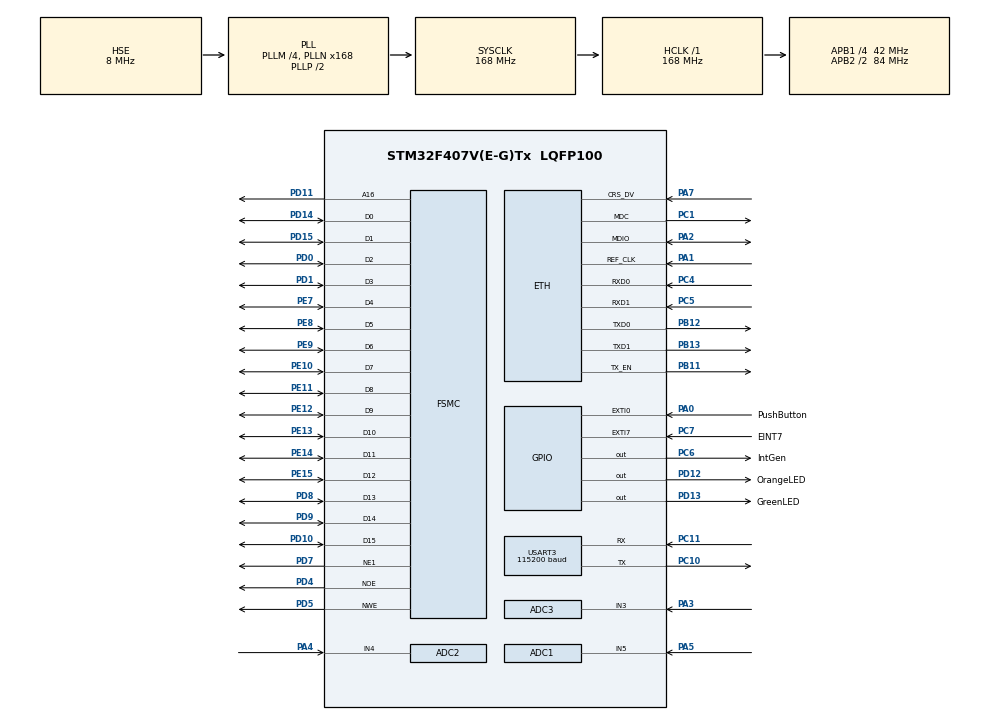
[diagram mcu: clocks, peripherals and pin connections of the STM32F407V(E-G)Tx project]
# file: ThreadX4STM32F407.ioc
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ADC1.Channel-4\#ChannelRegularConversion=ADC_CHANNEL_5
ADC1.NbrOfConversionFlag=1
ADC1.Rank-4\#ChannelRegularConversion=1
ADC1.SamplingTime-4\#ChannelRegularConversion=ADC_SAMPLETIME_3CYCLES
ADC1.master=1
ADC2.Channel-0\#ChannelRegularConversion=ADC_CHANNEL_4
ADC2.NbrOfConversionFlag=1
ADC2.Rank-0\#ChannelRegularConversion=1
ADC2.SamplingTime-0\#ChannelRegularConversion=ADC_SAMPLETIME_3CYCLES
ADC3.Channel-0\#ChannelRegularConversion=ADC_CHANNEL_3
ADC3.NbrOfConversionFlag=1
ADC3.Rank-0\#ChannelRegularConversion=1
ADC3.SamplingTime-0\#ChannelRegularConversion=ADC_SAMPLETIME_3CYCLES
ETH.ChecksumMode=ETH_CHECKSUM_BY_HARDWARE
ETH.MACAddr=00\:17\:A1\:00\:00\:01
ETH.MediaInterface=ETH_MEDIA_INTERFACE_RMII
ETH.PHY_Name_RMII=DP83848_PHY_ADDRESS
ETH.PhyAddress=0
ETH.RxMode=ETH_RXINTERRUPT_MODE
Mcu.Family=STM32F4
Mcu.Name=STM32F407V(E-G)Tx
Mcu.Package=LQFP100
NVIC.ADC_IRQn=true\:0\:0\:false\:false\:true\:true\:true
NVIC.ETH_IRQn=true\:0\:0\:false\:false\:true\:false\:true
NVIC.EXTI0_IRQn=true\:0\:0\:false\:false\:true\:true\:true
NVIC.EXTI9_5_IRQn=true\:0\:0\:false\:false\:true\:true\:true
NVIC.PriorityGroup=NVIC_PRIORITYGROUP_4
NVIC.USART3_IRQn=true\:0\:0\:false\:false\:true\:true\:true
PA0-WKUP.GPIO_Label=PushButton
PA0-WKUP.GPIO_ModeDefaultEXTI=GPIO_MODE_IT_RISING_FALLING
PA0-WKUP.GPIO_PuPd=GPIO_NOPULL
PA0-WKUP.Signal=GPXTI0
PA1.Mode=RMII
PA1.Signal=ETH_REF_CLK
PA13.Mode=Serial_Wire
PA13.Signal=SYS_JTMS-SWDIO
PA14.Mode=Serial_Wire
PA14.Signal=SYS_JTCK-SWCLK
PA2.Mode=RMII
PA2.Signal=ETH_MDIO
PA3.Signal=ADCx_IN3
PA4.Signal=ADCx_IN4
PA5.Signal=ADCx_IN5
PA7.Mode=RMII
PA7.Signal=ETH_CRS_DV
PB0.GPIO_Label=BL_PWM
PB0.Signal=S_TIM3_CH3
PB11.Mode=RMII
PB11.Signal=ETH_TX_EN
PB12.Mode=RMII
PB12.Signal=ETH_TXD0
PB13.Mode=RMII
PB13.Signal=ETH_TXD1
PC1.Mode=RMII
PC1.Signal=ETH_MDC
PC10.Mode=Asynchronous
PC10.Signal=USART3_TX
PC11.Mode=Asynchronous
PC11.Signal=USART3_RX
PC14-OSC32_IN.Mode=LSE-External-Oscillator
PC14-OSC32_IN.Signal=RCC_OSC32_IN
PC15-OSC32_OUT.Mode=LSE-External-Oscillator
PC15-OSC32_OUT.Signal=RCC_OSC32_OUT
PC4.Mode=RMII
PC4.Signal=ETH_RXD0
PC5.Mode=RMII
PC5.Signal=ETH_RXD1
PC6.GPIO_Label=IntGen
PC6.GPIO_PuPd=GPIO_PULLDOWN
PC6.GPIO_Speed=GPIO_SPEED_FREQ_VERY_HIGH
PC6.PinState=GPIO_PIN_SET
PC6.Signal=GPIO_Output
PC7.GPIO_Label=EINT7
PC7.GPIO_ModeDefaultEXTI=GPIO_MODE_IT_FALLING
PC7.Signal=GPXTI7
PD0.Mode=16b-d1
PD0.Signal=FSMC_D2
PD1.Mode=16b-d1
PD1.Signal=FSMC_D3
PD10.Mode=16b-d1
PD10.Signal=FSMC_D15
PD11.Mode=A16_1
PD11.Signal=FSMC_A16
PD12.GPIO_Label=OrangeLED
PD12.GPIO_ModeDefaultOutputPP=GPIO_MODE_OUTPUT_PP
PD12.GPIO_PuPd=GPIO_PULLDOWN
PD12.GPIO_Speed=GPIO_SPEED_FREQ_VERY_HIGH
PD12.PinState=GPIO_PIN_SET
PD12.Signal=GPIO_Output
PD13.GPIO_Label=GreenLED
PD13.GPIO_PuPd=GPIO_PULLDOWN
PD13.GPIO_Speed=GPIO_SPEED_FREQ_VERY_HIGH
PD13.PinState=GPIO_PIN_SET
PD13.Signal=GPIO_Output
PD14.Mode=16b-d1
PD14.Signal=FSMC_D0
PD15.Mode=16b-d1
PD15.Signal=FSMC_D1
PD4.Mode=Lcd1
PD4.Signal=FSMC_NOE
PD5.Mode=Lcd1
PD5.Signal=FSMC_NWE
PD7.Mode=NorPsramChipSelect1_1
PD7.Signal=FSMC_NE1
PD8.Mode=16b-d1
PD8.Signal=FSMC_D13
PD9.Mode=16b-d1
PD9.Signal=FSMC_D14
PE10.Mode=16b-d1
PE10.Signal=FSMC_D7
PE11.Mode=16b-d1
PE11.Signal=FSMC_D8
PE12.Mode=16b-d1
PE12.Signal=FSMC_D9
PE13.Mode=16b-d1
PE13.Signal=FSMC_D10
PE14.Mode=16b-d1
PE14.Signal=FSMC_D11
PE15.Mode=16b-d1
PE15.Signal=FSMC_D12
PE7.Mode=16b-d1
PE7.Signal=FSMC_D4
PE8.Mode=16b-d1
PE8.Signal=FSMC_D5
PE9.Mode=16b-d1
PE9.Signal=FSMC_D6
PH0-OSC_IN.Mode=HSE-External-Oscillator
PH0-OSC_IN.Signal=RCC_OSC_IN
PH1-OSC_OUT.Mode=HSE-External-Oscillator
PH1-OSC_OUT.Signal=RCC_OSC_OUT
ProjectManager.HeapSize=0x200
ProjectManager.StackSize=0x400
ProjectManager.TargetToolchain=STM32CubeIDE
RCC.48MHZClocksFreq_Value=84000000
RCC.AHBFreq_Value=168000000
RCC.APB1CLKDivider=RCC_HCLK_DIV4
RCC.APB1Freq_Value=42000000
RCC.APB1TimFreq_Value=84000000
RCC.APB2CLKDivider=RCC_HCLK_DIV2
RCC.APB2Freq_Value=84000000
RCC.APB2TimFreq_Value=168000000
RCC.CortexFreq_Value=168000000
RCC.HCLKFreq_Value=168000000
RCC.HSE_VALUE=8000000
RCC.HSI_VALUE=16000000
RCC.PLLM=4
RCC.PLLN=168
RCC.PLLSourceVirtual=RCC_PLLSOURCE_HSE
RCC.SYSCLKFreq_VALUE=168000000
RCC.SYSCLKSource=RCC_SYSCLKSOURCE_PLLCLK
RCC.VCOOutputFreq_Value=336000000
SH.ADCx_IN3.0=ADC3_IN3,IN3
SH.ADCx_IN4.0=ADC2_IN4,IN4
SH.ADCx_IN5.0=ADC1_IN5,IN5
SH.S_TIM3_CH3.0=TIM3_CH3
USART3.BaudRate=115200
USART3.VirtualMode=VM_ASYNC
board=custom

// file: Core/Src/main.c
/* USER CODE BEGIN Header */

/**
 ******************************************************************************
 *	File		:	main.c
 *	Brief		:	C source file of ThreadX demo application.
 *	Created on	:	Sep 17, 2021
 *	Author		:	William, An.
 *	Email		:	ponytail2k@gmail.com
 ******************************************************************************
 *
 * Copyright (c) 2021 Lee & An Partners Co., Ltd. All rights reserved.
 *
 * This software component is licensed by Lee & An Partners under BSD 3-Clause license,
 * the "License"; You may not use this file except in compliance with the
 * License. You may obtain a copy of the License at:
 *
 *                        opensource.org/licenses/BSD-3-Clause
 *
 ******************************************************************************
 */

/**
  ******************************************************************************
  * @file           : main.c
  * @brief          : Main program body
  ******************************************************************************
  * @attention
  *
  * <h2><center>&copy; Copyright (c) 2021 STMicroelectronics.
  * All rights reserved.</center></h2>
  *
  * This software component is licensed by ST under BSD 3-Clause license,
  * the "License"; You may not use this file except in compliance with the
  * License. You may obtain a copy of the License at:
  *                        opensource.org/licenses/BSD-3-Clause
  *
  ******************************************************************************
  */
/* USER CODE END Header */
#include "main.h"

/* USER CODE BEGIN PTD */
typedef struct {                              // Message object structure
	int	Voltage;                              // AD result of measured voltage
	int	Current;                              // AD result of measured current
	int	Counter;                              // A counter value
} sMeasure;
/* USER CODE END PTD */

/* USER CODE BEGIN PD */
#define	SIGNAL_BIT		0x00000001
/* USER CODE END PD */

ADC_HandleTypeDef hadc1;
ADC_HandleTypeDef hadc2;
ADC_HandleTypeDef hadc3;

ETH_HandleTypeDef heth;

UART_HandleTypeDef huart3;

SRAM_HandleTypeDef hsram1;

/* USER CODE BEGIN PV */
UART_HandleTypeDef *console = &huart3;

// Define the ThreadX object control blocks...
uint32_t  OneShotTimerArg;									// argument for the timer call back function
uint32_t  PeriodicTimerArg;									// argument for the timer call back function

osTimerId		OneShotTmrId;								// OneShotTimer id
osTimerId		PeriodicTmrId;								// PeriodicTimer id

osMutexId		MutexId;
osSemaphoreId	SemaphoreId;								// Semaphore ID
osPoolId  		MemPoolId;
osMessageQId	MsgQId;
osMessageQId	PushButtonMsgQID;
osMailQId		MailQId;

osThreadId txMainId;
osThreadId Thread0Id;
osThreadId Thread1Id;
osThreadId Thread2Id;
osThreadId Thread3Id;
osThreadId Thread4Id;
osThreadId Thread5Id;
osThreadId Thread6Id;
osThreadId Thread7Id;
osThreadId Thread8Id;
osThreadId Thread9Id;

// Define the counters used in the demo application...
ULONG thread_0_counter;
ULONG thread_1_counter;
ULONG thread_1_messages_sent;
ULONG thread_2_counter;
ULONG thread_2_messages_received;
ULONG thread_3_counter;
ULONG thread_4_counter;
ULONG thread_5_counter;
ULONG thread_6_counter;
ULONG thread_7_counter;
ULONG thread_8_counter;
ULONG thread_8_mail_sent;
ULONG thread_9_counter;
ULONG thread_9_mail_received;

// prototypes for timer callback function
void OneShotTimerCallback(ULONG timer_input);
void PeriodicTimerCallback(ULONG timer_input);

// Define thread prototypes.
void txMainThread(ULONG thread_input);
void AdcThread(ULONG thread_input);
void KeyThread(ULONG thread_input);
void LedThread(ULONG thread_input);
void Thread0(ULONG thread_input);
void Thread1(ULONG thread_input);
void Thread2(ULONG thread_input);
void Thread34(ULONG thread_input);
void Thread5(ULONG thread_input);
void Thread67(ULONG thread_input);
void Thread8(ULONG thread_input);
void Thread9(ULONG thread_input);
/* USER CODE END PV */

void SystemClock_Config(void);
static void MX_GPIO_Init(void);
static void MX_USART3_UART_Init(void);
static void MX_ETH_Init(void);
static void MX_FSMC_Init(void);
static void MX_ADC1_Init(void);
static void MX_ADC2_Init(void);
static void MX_ADC3_Init(void);

/* USER CODE BEGIN 0 */
void EnterInterrupt(void)
{
	HAL_GPIO_WritePin(IntGen_GPIO_Port, IntGen_Pin, GPIO_PIN_RESET);
}

void ExitInterrupt(void)
{
	HAL_GPIO_WritePin(IntGen_GPIO_Port, IntGen_Pin, GPIO_PIN_SET);
}
void PushButtonRelease(void)
{
	HAL_GPIO_WritePin(IntGen_GPIO_Port, IntGen_Pin, GPIO_PIN_RESET);
}

void PushButtonPress(void)
{
	HAL_GPIO_WritePin(IntGen_GPIO_Port, IntGen_Pin, GPIO_PIN_SET);
}

// Declare the tx_application_define function as having C linkage.
VOID tx_application_define(VOID *first_unused_memory)
{
    // Related to ThreadX RTOS layer.
    {
    	// Create a byte memory pool from which to allocate the thread stacks.
    	//UINT  _tx_byte_pool_create(TX_BYTE_POOL *pool_ptr, CHAR *name_ptr, VOID *pool_start, ULONG pool_size)
    	if (tx_byte_pool_create(&sTxBytePool, "BytePool", first_unused_memory, TX_SYSTEM_BYTE_POOL_SIZE) == TX_SUCCESS) {
    		ULONG	avail = 0;

    		//UINT  _tx_byte_pool_info_get(TX_BYTE_POOL *pool_ptr, CHAR **name, ULONG *available_bytes,
            //								ULONG *fragments, TX_THREAD **first_suspended,
            //								ULONG *suspended_count, TX_BYTE_POOL **next_pool)
    		tx_byte_pool_info_get(&sTxBytePool, TX_NULL, &avail, TX_NULL, TX_NULL, TX_NULL, TX_NULL);
    		kprintf("Thread X BytePool initialization success! (%d)\r\n", avail);
    	} else {
    		kprintf("Thread X BytePool initialization failed!\r\n");
    		while (1) {
    			;
    		}
    	}
    }

	// Put system definition stuff in here, e.g. thread creates and other assorted create information.
    // Related to CMSIS-RTOS layer.
    {
    	//  Create software timer
    	osTimerDef(OneShotTimer, OneShotTimerCallback, 1000);                      // define timers
    	OneShotTimerArg = 1;
    	OneShotTmrId = osTimerCreate (osTimer(OneShotTimer), osTimerOnce, (void *)OneShotTimerArg);

    	osTimerDef(PeriodicTimer, PeriodicTimerCallback, 10000);
    	PeriodicTimerArg = 2;
    	PeriodicTmrId = osTimerCreate (osTimer(PeriodicTimer), osTimerPeriodic, (void *)PeriodicTimerArg);

    	//	Create memory pool
    	osPoolDef(MemPool, 16, sMeasure);                    // Define memory pool
    	MemPoolId = osPoolCreate(osPool(MemPool));

    	//	Create msg queue
    	osMessageQDef(MsgQ, 16, sMeasure*);              // Define message queue
    	MsgQId = osMessageCreate(osMessageQ(MsgQ), NULL);

    	//  Create Push Button Message Key
    	osMessageQDef(PushButtonMsgQ, NUM_OF_KEY_MSGQ, uint32_t);              // Define message queue
    	PushButtonMsgQID = osMessageCreate(osMessageQ(PushButtonMsgQ), NULL);

    	//  Create semaphore
    	osSemaphoreDef(Semaphore);                       // Semaphore definition
    	SemaphoreId = osSemaphoreCreate(osSemaphore(Semaphore), 1);

    	//  Create mutex
    	osMutexDef(Mutex);
    	MutexId = osMutexCreate(osMutex(Mutex));

    	osMailQDef(MailQ, 16, sMeasure);                    // Define mail queue
    	MailQId = osMailCreate(osMailQ(MailQ), NULL);      // create mail queue

    	//	Create Main thread
    	osThreadDef(txMain, txMainThread, TX_THREAD_STACK_SIZE, osPriorityNormal);
    	txMainId = osThreadCreate(osThread(txMain), (void *)0);

    	//	Create PushButton thread
    	osThreadDef(txPushButton, KeyThread, TX_THREAD_STACK_SIZE, osPriorityNormal);
    	txMainId = osThreadCreate(osThread(txPushButton), (void *)0);

    	//	Create Thread 0
    	osThreadDef(Thread0, Thread0, TX_THREAD_STACK_SIZE, osPriorityNormal);
    	Thread0Id = osThreadCreate(osThread(Thread0), (void *)0);

    	// Create Thread 1
    	osThreadDef(Thread1, Thread1, TX_THREAD_STACK_SIZE, osPriorityNormal);
    	Thread1Id = osThreadCreate(osThread(Thread1), (void *)1);

    	// Create Thread 2
    	osThreadDef(Thread2, Thread2, TX_THREAD_STACK_SIZE, osPriorityNormal);
    	Thread2Id = osThreadCreate(osThread(Thread2), (void *)2);

    	// Create Thread 3
    	osThreadDef(Thread3, Thread34, TX_THREAD_STACK_SIZE, osPriorityNormal);
    	Thread3Id = osThreadCreate(osThread(Thread3), (void *)3);

    	// Create Thread 4
    	osThreadDef(Thread4, Thread34, TX_THREAD_STACK_SIZE, osPriorityNormal);
    	Thread4Id = osThreadCreate(osThread(Thread4), (void *)4);

    	// Create Thread 5
    	osThreadDef(Thread5, Thread5, TX_THREAD_STACK_SIZE, osPriorityNormal);
    	Thread5Id = osThreadCreate(osThread(Thread5), (void *)5);

    	// Create Thread 6
    	osThreadDef(Thread6, Thread67, TX_THREAD_STACK_SIZE, osPriorityNormal);
    	Thread6Id = osThreadCreate(osThread(Thread6), (void *)6);

    	// Create Thread 7
    	osThreadDef(Thread7, Thread67, TX_THREAD_STACK_SIZE, osPriorityNormal);
    	Thread7Id = osThreadCreate(osThread(Thread7), (void *)7);

    	// Create Thread 8
    	osThreadDef(Thread8, Thread8, TX_THREAD_STACK_SIZE, osPriorityNormal);
    	Thread8Id = osThreadCreate(osThread(Thread8), (void *)8);

    	// Create Thread 9
    	osThreadDef(Thread9, Thread9, TX_THREAD_STACK_SIZE, osPriorityNormal);
    	Thread9Id = osThreadCreate(osThread(Thread9), (void *)9);
    }
}

/* Define the txMainThread threads.  */
void txMainThread(ULONG thread_input)
{
	osTimerStart(OneShotTmrId, TX_ZERO);                // start timer
	osTimerStart(PeriodicTmrId, TX_ZERO);                // start timer

	/* This thread simply sits in while-forever-sleep loop.  */
	while (1) {
		kprintf("Hello, ThreadX!\r\n");
		osDelay(1000);
		PushButtonPress();	// Single Short Key
		osDelay(90);
		PushButtonRelease();
		osDelay(110);
		PushButtonPress();
		osDelay(90);
		PushButtonRelease();
		osDelay(110);
		PushButtonPress();
		osDelay(90);
		PushButtonRelease();
		osDelay(110);
		PushButtonPress();
		osDelay(90);
		PushButtonRelease();
		osDelay(110);
		PushButtonPress();		// Multi Short Key 1
		osDelay(90);
		PushButtonRelease();
		osDelay(110);

		PushButtonPress();
		osDelay(90);
		PushButtonRelease();
		osDelay(110);
		PushButtonPress();		// Multi Short Key 2
		osDelay(90);
		PushButtonRelease();
		osDelay(110);

		osDelay(1000);

		PushButtonPress();		// Single Long Key
		osDelay(2200);
		PushButtonRelease();
		osDelay(300);
	}
}

void OneShotTimerCallback(ULONG timer_input)
{                   										// timer callback function
	kprintf("OST(%d)\r\n", timer_input);							// arg contains &exec
}

void PeriodicTimerCallback(ULONG timer_input)
{
	kprintf("PT(%d)\r\n", timer_input);							// arg contains &exec
    // called every 10 seconds after osTimerStart
}

///////////////////////////////////////////////////////////////////////////////////////////////
// Key Thread
///////////////////////////////////////////////////////////////////////////////////////////////
uint8_t KeyPressed = GPIO_PIN_RESET;
uint8_t ucKeyIndex = (uint8_t)TX_ZERO;
uint32_t FirstKeyTick = (uint32_t)TX_ZERO;
uint32_t curKeyTick = (uint32_t)TX_ZERO;
uint32_t KeyPressTick[NUM_OF_KEY_BUFFERS];

void PushButtonInterrupt(uint16_t GPIO_Pin)
{
	/**
	 ******************************************************************************
	 *	Function	:	PushButtonInterrupt
	 *	Brief		:	Push Button Interrupt Handler.
	 *	Created on	:	Oct 12, 2021
	 *	Author		:	William, An.
	 *	Email		:	ponytail2k@gmail.com
	 ******************************************************************************
	 *
	 * Copyright (c) 2021 Lee & An Partners Co., Ltd. All rights reserved.
	 *
	 * This software component is licensed by Lee & An Partners under BSD 3-Clause license,
	 * the "License"; You may not use this function except in compliance with the
	 * License. You may obtain a copy of the License at:
	 *
	 *                        opensource.org/licenses/BSD-3-Clause
	 *
	 ******************************************************************************
	 *
	 * You SHOULD NOT MOVE OR REMOVE this comment.
	 *
	 * Visit YouTube Digital Museum!
	 *
	 *	https://www.youtube.com/channel/UCRpYzfU_JGjlWTY0si9HEMA
	 *
	 * Video for handling switch
	 *
	 *	https://www.youtube.com/watch?v=w_i-Z6Eq_Y0
	 *
	 ******************************************************************************
	 */
	curKeyTick = osKernelSysTick();

	if (HAL_GPIO_ReadPin(PushButton_GPIO_Port, GPIO_Pin) & GPIO_PIN_SET) {
		KeyPressed = GPIO_PIN_SET;
		KeyPressTick[ucKeyIndex] = curKeyTick;
		osMessagePut(PushButtonMsgQID, (uint32_t)SingleShortKey, 0);
	} else {
		KeyPressed = GPIO_PIN_RESET;
	}
}

void KeyThread(ULONG argument)
{
	/**
	 ******************************************************************************
	 *	Function	:	Push Button Key Thread
	 *	Brief		:	Inform the Key event to other thread.
	 *	Created on	:	Oct 12, 2021
	 *	Author		:	William, An.
	 *	Email		:	ponytail2k@gmail.com
	 ******************************************************************************
	 *
	 * Copyright (c) 2021 Lee & An Partners Co., Ltd. All rights reserved.
	 *
	 * This software component is licensed by Lee & An Partners under BSD 3-Clause license,
	 * the "License"; You may not use this function except in compliance with the
	 * License. You may obtain a copy of the License at:
	 *
	 *                        opensource.org/licenses/BSD-3-Clause
	 *
	 ******************************************************************************
	 *
	 * You SHOULD NOT MOVE OR REMOVE this comment.
	 *
	 * Visit YouTube Digital Museum!
	 *
	 *	https://www.youtube.com/channel/UCRpYzfU_JGjlWTY0si9HEMA
	 *
	 * Video for handling switch
	 *
	 *	https://www.youtube.com/watch?v=w_i-Z6Eq_Y0
	 *
	 ******************************************************************************
	 */
	uint32_t KeyEvtInfo;
	uint32_t curKeyTick;
	osEvent KeyEvent;

	memset(&KeyPressTick[0], 0, sizeof(uint32_t)*NUM_OF_KEY_BUFFERS);

	for ( ; ; ) {
		KeyEvent = osMessageGet(PushButtonMsgQID, 100);

		curKeyTick = osKernelSysTick();

        if (KeyEvent.status == osEventMessage) {
        	// Receive Key
        	KeyEvtInfo = KeyEvent.value.v;

        	// Key handle
        	if (KeyEvtInfo == SingleShortKey) {
            	if (ucKeyIndex == 0) {			        						// Check First Single Short Key
            		kprintf("SSK\r\n");
            		FirstKeyTick = KeyPressTick[0];
            	} else if (ucKeyIndex == MULTI_SHORT_KEY1_COUNT) {				// Check Multi Short Key
            		if ((KeyPressTick[MULTI_SHORT_KEY1_COUNT] - FirstKeyTick) < KEY_PROCESSING_TIMEOUT) {
            			kprintf("MSK1\r\n");
            			KeyEvtInfo = (uint32_t)MultiShortKey1;
            		}
            	} else if (ucKeyIndex == MULTI_SHORT_KEY2_COUNT) {
            		if ((KeyPressTick[MULTI_SHORT_KEY2_COUNT] - FirstKeyTick) < KEY_PROCESSING_TIMEOUT) {
            			kprintf("MSK2\r\n");
            			KeyEvtInfo = (uint32_t)MultiShortKey2;
            			ucKeyIndex = 0;
            			FirstKeyTick = 0;
            		}
            	}
            	ucKeyIndex++;
        	}
        } else if (KeyEvent.status == osEventTimeout) {							// Check Single Long Key - Timeout
    		// Handle Single Long Key Timeout
        	if (ucKeyIndex != 0) {	// Key handling state
        		// over 2000ms... : Key input timeout occur!!!
        		if ((curKeyTick - FirstKeyTick) > KEY_PROCESSING_TIMEOUT) {
            		// Still key is pressed,
                	if (((curKeyTick - KeyPressTick[ucKeyIndex-1]) > KEY_PROCESSING_TIMEOUT) && (KeyPressed == 1)) {
                		kprintf("SLK\r\n");
                		KeyEvtInfo = (uint32_t)SingleLongKey;
            			ucKeyIndex = 0;							// Timeout : previous key clear
            			FirstKeyTick = 0;
                	}

                	if (KeyPressed == 0) {
            			ucKeyIndex = 0;							// Timeout : previous key clear
            			FirstKeyTick = 0;
                	}
        		}
        	}
        }
	}
}

void Thread0(ULONG thread_input)
{
	UINT status;

	// This thread simply sits in while-forever-sleep loop.
	while (1) {
		// Increment the thread counter.
		thread_0_counter++;

		// Sleep for 10 ticks.
		//tx_thread_sleep(10);
		osDelay(1000);

		// Set event flag 0 to wakeup thread 5.
		//status = tx_event_flags_set(&event_flags_0, 0x1, TX_OR);
		status = osSignalSet(Thread5Id, SIGNAL_BIT);

		// Check status.
		if (status == 0x80000000) {
			break;
		} else {
			kprintf("T0:%08X\r\n", status);
		}
	}
}

void Thread1(ULONG thread_input)
{
	osStatus status;
	sMeasure *pSndMeasure;

    // This thread simply sends messages to a queue shared by thread 2.
    while(1)
    {
        // Increment the thread counter.
        thread_1_counter++;

        // Send message to queue 0.
        //status = tx_queue_send(&queue_0, &thread_1_messages_sent, TX_WAIT_FOREVER);
        pSndMeasure = osPoolCAlloc(MemPoolId);                     // Allocate memory for the message
        pSndMeasure->Voltage = thread_1_messages_sent;                        // Set the message content
        pSndMeasure->Current = thread_1_messages_sent;
        pSndMeasure->Counter = thread_1_counter;

        status = osMessagePut(MsgQId, (uint32_t)pSndMeasure, osWaitForever);  // Send Message

        // Check completion status.
        if (status == osOK) {
            kprintf("T1:%d\r\n", pSndMeasure->Counter);
        } else {
            kprintf("T1E:%d\r\n", status);
            break;
        }

        osDelay(2000);

        // Increment the message sent.
        thread_1_messages_sent++;
    }
}

void Thread2(ULONG thread_input)
{
    //UINT status;
    sMeasure *pRcvMeasure;
    osEvent  th2Event;

    // This thread retrieves messages placed on the queue by thread 1.
    while(1)
    {
        // Increment the thread counter.
        thread_2_counter++;

        // Retrieve a message from the queue.
        //status = tx_queue_receive(&queue_0, &received_message, TX_WAIT_FOREVER);
        th2Event = osMessageGet(MsgQId, osWaitForever);  // wait for message

        // Check completion status and make sure the message is what we expected.
        //if ((status != TX_SUCCESS) || (received_message != thread_2_messages_received))
        //    break;
        if (th2Event.status == osEventMessage) {
        	pRcvMeasure = th2Event.value.p;
        	kprintf("T2:%d\r\n", pRcvMeasure->Counter);
        	osPoolFree(MemPoolId, pRcvMeasure);                  // free memory allocated for message
        }

        // Otherwise, all is okay. Increment the received message count.
        thread_2_messages_received++;
    }
}

void Thread34(ULONG thread_input)
{
    UINT status;

    // This function is executed from thread 3 and thread 4. As the loop
    //   below shows, these function compete for ownership of semaphore_0.
    while(1)
    {
        // Increment the thread counter.
        if (thread_input == 3) {
            thread_3_counter++;
        } else {
            thread_4_counter++;
        }

        // Get the semaphore with suspension.
        //status = tx_semaphore_get(&semaphore_0, TX_WAIT_FOREVER);
        status = osSemaphoreWait(SemaphoreId, TX_WAIT_FOREVER);

        if (thread_input == 3) {
            kprintf("T%d(%d)\r\n", thread_input, thread_3_counter);
        } else {
            kprintf("T%d(%d)\r\n", thread_input, thread_4_counter);
        }

        // Check status.
        if (status != TX_SUCCESS)
            break;

        // Sleep for 2 ticks to hold the semaphore.
        //tx_thread_sleep(2);
        osDelay(3000);

        // Release the semaphore.
        //status = tx_semaphore_put(&semaphore_0);
        osSemaphoreRelease(SemaphoreId);

        // Check status.
        //if (status != TX_SUCCESS)
        //    break;
    }
}

void Thread5(ULONG thread_input)
{
	osEvent event;
    //ULONG actual_flags;

    // This thread simply waits for an event in a forever loop.
    while(1)
    {
        // Increment the thread counter.
        thread_5_counter++;

        // Wait for event flag 0.
        //status = tx_event_flags_get(&event_flags_0, 0x1, TX_OR_CLEAR, &actual_flags, TX_WAIT_FOREVER);
        event = osSignalWait(SIGNAL_BIT, osWaitForever);

        // Check status.
        //if ((status != TX_SUCCESS) || (actual_flags != 0x1))
        if (event.status != osEventSignal) {
    		kprintf("T5E:%08X\r\n", event.status);
            break;
        } else {
        	if (event.value.signals == SIGNAL_BIT) {
        		kprintf("T5S:%08X\r\n", event.value.signals);
            } else {
            	kprintf("T5E:%08X\r\n", event.value.signals);
            	break;
            }
        }
    }
}

void Thread67(ULONG thread_input)
{
    //UINT status;

    // This function is executed from thread 6 and thread 7. As the loop
    //    below shows, these function compete for ownership of mutex_0.
    while(1)
    {
        // Increment the thread counter.
        if (thread_input == 6)
            thread_6_counter++;
        else
            thread_7_counter++;

        // Get the mutex with suspension.
        //status = tx_mutex_get(&mutex_0, TX_WAIT_FOREVER);
        osMutexWait(MutexId, osWaitForever);

        // Check status.
        //if (status != TX_SUCCESS)
        //    break;

        // Get the mutex again with suspension. This shows
        //    that an owning thread may retrieve the mutex it
        //    owns multiple times.
        //status = tx_mutex_get(&mutex_0, TX_WAIT_FOREVER);
        osMutexWait(MutexId, osWaitForever);

        // Check status.
        //if (status != TX_SUCCESS)
        //    break;

        if (thread_input == 6) {
            kprintf("T%d(%d)\r\n", thread_input, thread_6_counter);
        } else {
            kprintf("T%d(%d)\r\n", thread_input, thread_7_counter);
        }

        // Sleep for 2 ticks to hold the mutex.
        //tx_thread_sleep(2);
        osDelay(4000);

        // Release the mutex.
        //status = tx_mutex_put(&mutex_0);
        osMutexRelease(MutexId);

        // Check status.
        //if (status != TX_SUCCESS)
        //    break;

        // Release the mutex again. This will actually
        //    release ownership since it was obtained twice.
        //status = tx_mutex_put(&mutex_0);
        osMutexRelease(MutexId);

        // Check status.
        //if (status != TX_SUCCESS)
        //    break;
    }
}

void Thread8(ULONG thread_input)
{
	osStatus status;
	sMeasure *pSndMeasure;

    // This thread simply sends messages to a queue shared by thread 2.
    while(1)
    {
        // Increment the thread counter.
        thread_8_counter++;

        // Send message to queue 0.
        //status = tx_queue_send(&queue_0, &thread_1_messages_sent, TX_WAIT_FOREVER);
        pSndMeasure = osMailAlloc(MailQId, osWaitForever);       // Allocate memory
        pSndMeasure->Voltage = thread_8_mail_sent;                        // Set the message content
        pSndMeasure->Current = thread_8_mail_sent;
        pSndMeasure->Counter = thread_8_counter;

        status = osMailPut(MailQId, pSndMeasure);                         // Send Mail

        // Check completion status.
        if (status == osOK) {
            kprintf("T8:%d\r\n", pSndMeasure->Counter);
        } else {
            kprintf("T8E:%d\r\n", status);
            break;
        }

        osDelay(5000);

        // Increment the message sent.
        thread_8_mail_sent++;
    }
}

void Thread9(ULONG thread_input)
{
    //UINT status;
    sMeasure *pRcvMeasure;
    osEvent  th9Event;

    // This thread retrieves messages placed on the queue by thread 1.
    while(1)
    {
        // Increment the thread counter.
        thread_9_counter++;

        // Retrieve a message from the queue.
        //status = tx_queue_receive(&queue_0, &received_message, TX_WAIT_FOREVER);
        th9Event = osMailGet(MailQId, osWaitForever);        // wait for mail

        // Check completion status and make sure the message is what we expected.
        //if ((status != TX_SUCCESS) || (received_message != thread_2_messages_received))
        //    break;
        if (th9Event.status == osEventMail) {
        	pRcvMeasure = th9Event.value.p;
        	kprintf("T9:%d\r\n", pRcvMeasure->Counter);
        	osMailFree(MailQId, pRcvMeasure);                    // free memory allocated for mail
        }

        // Otherwise, all is okay. Increment the received message count.
        thread_9_mail_received++;
    }
}

/* USER CODE END 0 */

int main(void)
{

  /* MCU Configuration--------------------------------------------------------*/

  /* Reset of all peripherals, Initializes the Flash interface and the Systick. */
  HAL_Init();

  /* USER CODE BEGIN Init */
  // Initialization HAL Tick count
  uwTick = 0;
  /* USER CODE END Init */

  /* Configure the system clock */
  SystemClock_Config();

  /* Initialize all configured peripherals */
  MX_GPIO_Init();
  MX_USART3_UART_Init();
  MX_ETH_Init();
  MX_FSMC_Init();
  MX_ADC1_Init();
  MX_ADC2_Init();
  MX_ADC3_Init();
  /* USER CODE BEGIN 2 */

  kprintf("%s %s %s\r\n", osKernelSystemId, __DATE__, __TIME__);

  osKernelInitialize();

  osKernelStart();
  /* USER CODE END 2 */

  /* Infinite loop */
  while (1)
  {

  }
}

void SystemClock_Config(void)
{
  RCC_OscInitTypeDef RCC_OscInitStruct = {0};
  RCC_ClkInitTypeDef RCC_ClkInitStruct = {0};

  /** Configure the main internal regulator output voltage
  */
  __HAL_RCC_PWR_CLK_ENABLE();
  __HAL_PWR_VOLTAGESCALING_CONFIG(PWR_REGULATOR_VOLTAGE_SCALE1);
  /** Initializes the RCC Oscillators according to the specified parameters
  * in the RCC_OscInitTypeDef structure.
  */
  RCC_OscInitStruct.OscillatorType = RCC_OSCILLATORTYPE_HSE;
  RCC_OscInitStruct.HSEState = RCC_HSE_ON;
  RCC_OscInitStruct.PLL.PLLState = RCC_PLL_ON;
  RCC_OscInitStruct.PLL.PLLSource = RCC_PLLSOURCE_HSE;
  RCC_OscInitStruct.PLL.PLLM = 4;
  RCC_OscInitStruct.PLL.PLLN = 168;
  RCC_OscInitStruct.PLL.PLLP = RCC_PLLP_DIV2;
  RCC_OscInitStruct.PLL.PLLQ = 4;
  if (HAL_RCC_OscConfig(&RCC_OscInitStruct) != HAL_OK)
  {
    Error_Handler();
  }
  /** Initializes the CPU, AHB and APB buses clocks
  */
  RCC_ClkInitStruct.ClockType = RCC_CLOCKTYPE_HCLK|RCC_CLOCKTYPE_SYSCLK
                              |RCC_CLOCKTYPE_PCLK1|RCC_CLOCKTYPE_PCLK2;
  RCC_ClkInitStruct.SYSCLKSource = RCC_SYSCLKSOURCE_PLLCLK;
  RCC_ClkInitStruct.AHBCLKDivider = RCC_SYSCLK_DIV1;
  RCC_ClkInitStruct.APB1CLKDivider = RCC_HCLK_DIV4;
  RCC_ClkInitStruct.APB2CLKDivider = RCC_HCLK_DIV2;

  if (HAL_RCC_ClockConfig(&RCC_ClkInitStruct, FLASH_LATENCY_5) != HAL_OK)
  {
    Error_Handler();
  }
}

static void MX_ADC1_Init(void)
{

  ADC_ChannelConfTypeDef sConfig = {0};

  /** Configure the global features of the ADC (Clock, Resolution, Data Alignment and number of conversion)
  */
  hadc1.Instance = ADC1;
  hadc1.Init.ClockPrescaler = ADC_CLOCK_SYNC_PCLK_DIV4;
  hadc1.Init.Resolution = ADC_RESOLUTION_12B;
  hadc1.Init.ScanConvMode = DISABLE;
  hadc1.Init.ContinuousConvMode = DISABLE;
  hadc1.Init.DiscontinuousConvMode = DISABLE;
  hadc1.Init.ExternalTrigConvEdge = ADC_EXTERNALTRIGCONVEDGE_NONE;
  hadc1.Init.ExternalTrigConv = ADC_SOFTWARE_START;
  hadc1.Init.DataAlign = ADC_DATAALIGN_RIGHT;
  hadc1.Init.NbrOfConversion = 1;
  hadc1.Init.DMAContinuousRequests = DISABLE;
  hadc1.Init.EOCSelection = ADC_EOC_SINGLE_CONV;
  if (HAL_ADC_Init(&hadc1) != HAL_OK)
  {
    Error_Handler();
  }
  /** Configure for the selected ADC regular channel its corresponding rank in the sequencer and its sample time.
  */
  sConfig.Channel = ADC_CHANNEL_5;
  sConfig.Rank = 1;
  sConfig.SamplingTime = ADC_SAMPLETIME_3CYCLES;
  if (HAL_ADC_ConfigChannel(&hadc1, &sConfig) != HAL_OK)
  {
    Error_Handler();
  }

}

static void MX_ADC2_Init(void)
{

  ADC_ChannelConfTypeDef sConfig = {0};

  /** Configure the global features of the ADC (Clock, Resolution, Data Alignment and number of conversion)
  */
  hadc2.Instance = ADC2;
  hadc2.Init.ClockPrescaler = ADC_CLOCK_SYNC_PCLK_DIV4;
  hadc2.Init.Resolution = ADC_RESOLUTION_12B;
  hadc2.Init.ScanConvMode = DISABLE;
  hadc2.Init.ContinuousConvMode = DISABLE;
  hadc2.Init.DiscontinuousConvMode = DISABLE;
  hadc2.Init.ExternalTrigConvEdge = ADC_EXTERNALTRIGCONVEDGE_NONE;
  hadc2.Init.ExternalTrigConv = ADC_SOFTWARE_START;
  hadc2.Init.DataAlign = ADC_DATAALIGN_RIGHT;
  hadc2.Init.NbrOfConversion = 1;
  hadc2.Init.DMAContinuousRequests = DISABLE;
  hadc2.Init.EOCSelection = ADC_EOC_SINGLE_CONV;
  if (HAL_ADC_Init(&hadc2) != HAL_OK)
  {
    Error_Handler();
  }
  /** Configure for the selected ADC regular channel its corresponding rank in the sequencer and its sample time.
  */
  sConfig.Channel = ADC_CHANNEL_4;
  sConfig.Rank = 1;
  sConfig.SamplingTime = ADC_SAMPLETIME_3CYCLES;
  if (HAL_ADC_ConfigChannel(&hadc2, &sConfig) != HAL_OK)
  {
    Error_Handler();
  }

}

static void MX_ADC3_Init(void)
{

  ADC_ChannelConfTypeDef sConfig = {0};

  /** Configure the global features of the ADC (Clock, Resolution, Data Alignment and number of conversion)
  */
  hadc3.Instance = ADC3;
  hadc3.Init.ClockPrescaler = ADC_CLOCK_SYNC_PCLK_DIV4;
  hadc3.Init.Resolution = ADC_RESOLUTION_12B;
  hadc3.Init.ScanConvMode = DISABLE;
  hadc3.Init.ContinuousConvMode = DISABLE;
  hadc3.Init.DiscontinuousConvMode = DISABLE;
  hadc3.Init.ExternalTrigConvEdge = ADC_EXTERNALTRIGCONVEDGE_NONE;
  hadc3.Init.ExternalTrigConv = ADC_SOFTWARE_START;
  hadc3.Init.DataAlign = ADC_DATAALIGN_RIGHT;
  hadc3.Init.NbrOfConversion = 1;
  hadc3.Init.DMAContinuousRequests = DISABLE;
  hadc3.Init.EOCSelection = ADC_EOC_SINGLE_CONV;
  if (HAL_ADC_Init(&hadc3) != HAL_OK)
  {
    Error_Handler();
  }
  /** Configure for the selected ADC regular channel its corresponding rank in the sequencer and its sample time.
  */
  sConfig.Channel = ADC_CHANNEL_3;
  sConfig.Rank = 1;
  sConfig.SamplingTime = ADC_SAMPLETIME_3CYCLES;
  if (HAL_ADC_ConfigChannel(&hadc3, &sConfig) != HAL_OK)
  {
    Error_Handler();
  }

}

static void MX_ETH_Init(void)
{

   static uint8_t MACAddr[6];

  heth.Instance = ETH;
  heth.Init.AutoNegotiation = ETH_AUTONEGOTIATION_ENABLE;
  heth.Init.Speed = ETH_SPEED_100M;
  heth.Init.DuplexMode = ETH_MODE_FULLDUPLEX;
  heth.Init.PhyAddress = DP83848_PHY_ADDRESS;
  MACAddr[0] = 0x00;
  MACAddr[1] = 0x17;
  MACAddr[2] = 0xA1;
  MACAddr[3] = 0x00;
  MACAddr[4] = 0x00;
  MACAddr[5] = 0x01;
  heth.Init.MACAddr = &MACAddr[0];
  heth.Init.RxMode = ETH_RXINTERRUPT_MODE;
  heth.Init.ChecksumMode = ETH_CHECKSUM_BY_HARDWARE;
  heth.Init.MediaInterface = ETH_MEDIA_INTERFACE_RMII;

  if (HAL_ETH_Init(&heth) != HAL_OK)
  {
    Error_Handler();
  }

}

static void MX_USART3_UART_Init(void)
{

  huart3.Instance = USART3;
  huart3.Init.BaudRate = 115200;
  huart3.Init.WordLength = UART_WORDLENGTH_8B;
  huart3.Init.StopBits = UART_STOPBITS_1;
  huart3.Init.Parity = UART_PARITY_NONE;
  huart3.Init.Mode = UART_MODE_TX_RX;
  huart3.Init.HwFlowCtl = UART_HWCONTROL_NONE;
  huart3.Init.OverSampling = UART_OVERSAMPLING_16;
  if (HAL_UART_Init(&huart3) != HAL_OK)
  {
    Error_Handler();
  }

}

static void MX_GPIO_Init(void)
{
  GPIO_InitTypeDef GPIO_InitStruct = {0};

  /* GPIO Ports Clock Enable */
  __HAL_RCC_GPIOC_CLK_ENABLE();
  __HAL_RCC_GPIOH_CLK_ENABLE();
  __HAL_RCC_GPIOA_CLK_ENABLE();
  __HAL_RCC_GPIOB_CLK_ENABLE();
  __HAL_RCC_GPIOE_CLK_ENABLE();
  __HAL_RCC_GPIOD_CLK_ENABLE();

  /*Configure GPIO pin Output Level */
  HAL_GPIO_WritePin(GPIOD, OrangeLED_Pin|GreenLED_Pin, GPIO_PIN_SET);

  /*Configure GPIO pin Output Level */
  HAL_GPIO_WritePin(IntGen_GPIO_Port, IntGen_Pin, GPIO_PIN_SET);

  /*Configure GPIO pin : PushButton_Pin */
  GPIO_InitStruct.Pin = PushButton_Pin;
  GPIO_InitStruct.Mode = GPIO_MODE_IT_RISING_FALLING;
  GPIO_InitStruct.Pull = GPIO_NOPULL;
  HAL_GPIO_Init(PushButton_GPIO_Port, &GPIO_InitStruct);

  /*Configure GPIO pin : BL_PWM_Pin */
  GPIO_InitStruct.Pin = BL_PWM_Pin;
  GPIO_InitStruct.Mode = GPIO_MODE_AF_PP;
  GPIO_InitStruct.Pull = GPIO_NOPULL;
  GPIO_InitStruct.Speed = GPIO_SPEED_FREQ_LOW;
  GPIO_InitStruct.Alternate = GPIO_AF2_TIM3;
  HAL_GPIO_Init(BL_PWM_GPIO_Port, &GPIO_InitStruct);

  /*Configure GPIO pins : OrangeLED_Pin GreenLED_Pin */
  GPIO_InitStruct.Pin = OrangeLED_Pin|GreenLED_Pin;
  GPIO_InitStruct.Mode = GPIO_MODE_OUTPUT_PP;
  GPIO_InitStruct.Pull = GPIO_PULLDOWN;
  GPIO_InitStruct.Speed = GPIO_SPEED_FREQ_VERY_HIGH;
  HAL_GPIO_Init(GPIOD, &GPIO_InitStruct);

  /*Configure GPIO pin : IntGen_Pin */
  GPIO_InitStruct.Pin = IntGen_Pin;
  GPIO_InitStruct.Mode = GPIO_MODE_OUTPUT_PP;
  GPIO_InitStruct.Pull = GPIO_PULLDOWN;
  GPIO_InitStruct.Speed = GPIO_SPEED_FREQ_VERY_HIGH;
  HAL_GPIO_Init(IntGen_GPIO_Port, &GPIO_InitStruct);

  /*Configure GPIO pin : EINT7_Pin */
  GPIO_InitStruct.Pin = EINT7_Pin;
  GPIO_InitStruct.Mode = GPIO_MODE_IT_FALLING;
  GPIO_InitStruct.Pull = GPIO_NOPULL;
  HAL_GPIO_Init(EINT7_GPIO_Port, &GPIO_InitStruct);

  /* EXTI interrupt init*/
  HAL_NVIC_SetPriority(EXTI0_IRQn, 0, 0);
  HAL_NVIC_EnableIRQ(EXTI0_IRQn);

  HAL_NVIC_SetPriority(EXTI9_5_IRQn, 0, 0);
  HAL_NVIC_EnableIRQ(EXTI9_5_IRQn);

}

/* FSMC initialization function */
static void MX_FSMC_Init(void)
{

  FSMC_NORSRAM_TimingTypeDef Timing = {0};

  /** Perform the SRAM1 memory initialization sequence
  */
  hsram1.Instance = FSMC_NORSRAM_DEVICE;
  hsram1.Extended = FSMC_NORSRAM_EXTENDED_DEVICE;
  /* hsram1.Init */
  hsram1.Init.NSBank = FSMC_NORSRAM_BANK1;
  hsram1.Init.DataAddressMux = FSMC_DATA_ADDRESS_MUX_DISABLE;
  hsram1.Init.MemoryType = FSMC_MEMORY_TYPE_SRAM;
  hsram1.Init.MemoryDataWidth = FSMC_NORSRAM_MEM_BUS_WIDTH_16;
  hsram1.Init.BurstAccessMode = FSMC_BURST_ACCESS_MODE_DISABLE;
  hsram1.Init.WaitSignalPolarity = FSMC_WAIT_SIGNAL_POLARITY_LOW;
  hsram1.Init.WrapMode = FSMC_WRAP_MODE_DISABLE;
  hsram1.Init.WaitSignalActive = FSMC_WAIT_TIMING_BEFORE_WS;
  hsram1.Init.WriteOperation = FSMC_WRITE_OPERATION_ENABLE;
  hsram1.Init.WaitSignal = FSMC_WAIT_SIGNAL_DISABLE;
  hsram1.Init.ExtendedMode = FSMC_EXTENDED_MODE_DISABLE;
  hsram1.Init.AsynchronousWait = FSMC_ASYNCHRONOUS_WAIT_DISABLE;
  hsram1.Init.WriteBurst = FSMC_WRITE_BURST_DISABLE;
  hsram1.Init.PageSize = FSMC_PAGE_SIZE_NONE;
  /* Timing */
  Timing.AddressSetupTime = 15;
  Timing.AddressHoldTime = 15;
  Timing.DataSetupTime = 255;
  Timing.BusTurnAroundDuration = 15;
  Timing.CLKDivision = 16;
  Timing.DataLatency = 17;
  Timing.AccessMode = FSMC_ACCESS_MODE_A;
  /* ExtTiming */

  if (HAL_SRAM_Init(&hsram1, &Timing, NULL) != HAL_OK)
  {
    Error_Handler( );
  }

}

void Error_Handler(void)
{
  __disable_irq();
  while (1)
  {
  }
}

/************************ (C) COPYRIGHT STMicroelectronics *****END OF FILE****/
